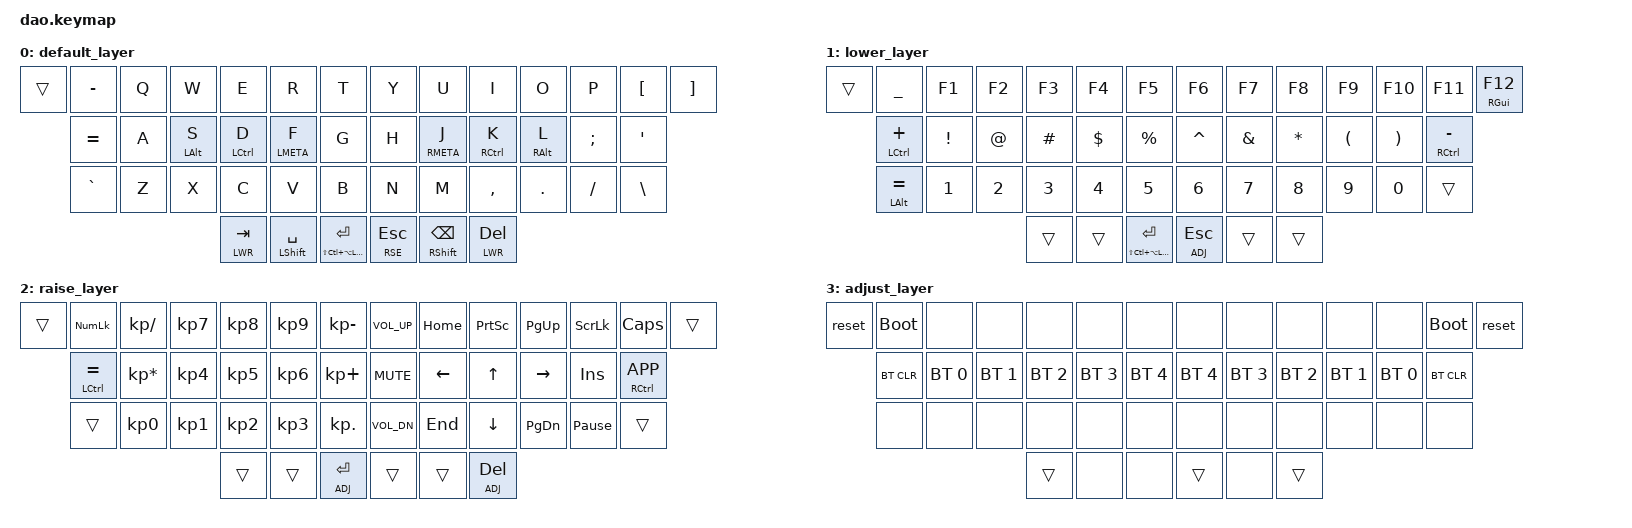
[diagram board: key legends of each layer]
/*
 * Copyright (c) 2021 Rafael Yumagulov
 *
 * SPDX-License-Identifier: MIT
 */

#include <behaviors.dtsi>
#include <dt-bindings/zmk/keys.h>
#include <dt-bindings/zmk/bt.h>

#define DEF 0
#define LWR 1
#define RSE 2
#define ADJ 3
#define HYP LS(LC(LA(LGUI)))
#define HYPER(key) LS(LC(LA(LG(key))))

&lt { quick_tap_ms = <200>; };
&mt {
  flavor = "tap-preferred";
  tapping_term_ms = <200>;
};

/ {
       behaviors {
            hm: homerow_mods {
                compatible = "zmk,behavior-hold-tap";
                label = "HOMEROW_MODS";
                #binding-cells = <2>;
                tapping-term-ms = <400>;
                quick_tap_ms = <0>;
                flavor = "tap-preferred";
                bindings = <&kp>, <&kp>;
            };
            td: tapdance {
                compatible = "zmk,behavior-hold-tap";
                label = "TAPDANCE";
                #binding-cells = <2>;
                tapping-term-ms = <150>;
                quick_tap_ms = <0>;
                flavor = "tap-preferred";
                bindings = <&kp>, <&kp>;
            };
        };
     keymap {
                compatible = "zmk,keymap";

                default_layer {
                        bindings = <
   &trans &kp MINUS &kp Q &kp W       &kp E        &kp R           &kp T                &kp Y       &kp U          &kp I       &kp O      &kp P    &kp LBKT       &kp RBKT
          &kp EQUAL &kp A &hm LALT S  &hm LCTRL D  &hm LMETA F     &kp G                &kp H       &hm RMETA J    &hm RCTRL K &hm RALT L &kp SEMI &kp SQT
          &kp GRAVE &kp Z &kp X       &kp C        &kp V           &kp B                &kp N       &kp M          &kp COMMA   &kp DOT    &kp FSLH &kp BSLH
                                      &lt LWR TAB  &mt LSHFT SPACE &mt HYP RET          &lt RSE ESC &mt RSHFT BSPC &lt LWR DEL
                        >;
                };
                lower_layer {
                        bindings = <
   &trans &kp UNDER      &kp F1   &kp F2 &kp F3   &kp F4   &kp F5            &kp F6      &kp F7   &kp F8   &kp F9   &kp F10  &kp F11 &mt RGUI F12
          &mt LCTRL PLUS &kp EXCL &kp AT &kp HASH &kp DLLR &kp PRCNT         &kp CARET   &kp AMPS &kp STAR &kp LPAR &kp RPAR &mt RCTRL MINUS
          &mt LALT EQUAL &kp N1   &kp N2 &kp N3   &kp N4   &kp N5            &kp N6      &kp N7   &kp N8   &kp N9   &kp N0   &trans
                                         &trans   &trans   &mt HYP RET       &lt ADJ ESC &trans   &trans
                        >;
                };

                raise_layer {
                        bindings = <
   &trans &kp KP_NUM      &kp KP_SLASH    &kp KP_N7 &kp KP_N8 &kp KP_N9 &kp KP_MINUS        &kp C_VOL_UP &kp HOME &kp PSCRN &kp PG_UP &kp SLCK &kp CAPS &trans
          &mt LCTRL EQUAL &kp KP_MULTIPLY &kp KP_N4 &kp KP_N5 &kp KP_N6 &kp KP_PLUS         &kp C_MUTE   &kp LEFT &kp UP    &kp RIGHT &kp INS  &mt RCTRL K_APP
          &trans          &kp KP_N0       &kp KP_N1 &kp KP_N2 &kp KP_N3 &kp KP_DOT          &kp C_VOL_DN &kp END  &kp DOWN  &kp PG_DN &kp PAUSE_BREAK &trans
                                                    &trans     &trans   &lt ADJ RET         &trans       &trans   &lt ADJ DEL
                        >;
                };
                adjust_layer {
                        bindings = <
   &reset &bootloader  &none        &none        &none        &none        &none              &none        &none        &none        &none        &none         &bootloader &reset
          &bt BT_CLR   &bt BT_SEL 0 &bt BT_SEL 1 &bt BT_SEL 2 &bt BT_SEL 3 &bt BT_SEL 4       &bt BT_SEL 4 &bt BT_SEL 3 &bt BT_SEL 2 &bt BT_SEL 1 &bt BT_SEL 0  &bt BT_CLR
          &none        &none        &none        &none        &none        &none              &none        &none        &none        &none        &none         &none
                                                                    &trans &none &none       &trans &none &trans
                        >;
                };
        };
};
